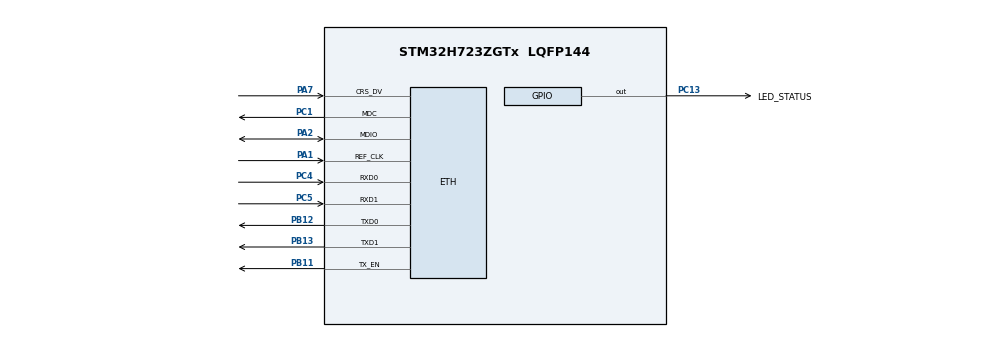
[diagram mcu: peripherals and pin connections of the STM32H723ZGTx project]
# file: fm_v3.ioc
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CORTEX_M7.CPU_DCache=Enabled
CORTEX_M7.CPU_ICache=Enabled
ETH.MediaInterface=HAL_ETH_RMII_MODE
FREERTOS.configCHECK_FOR_STACK_OVERFLOW=2
FREERTOS.configTOTAL_HEAP_SIZE=32768
FREERTOS.configUSE_MALLOC_FAILED_HOOK=1
FREERTOS.configUSE_NEWLIB_REENTRANT=1
LWIP.ETHARP_STATS=1
LWIP.GATEWAY_ADDRESS=192.168.001.001
LWIP.IP_ADDRESS=192.168.001.111
LWIP.IP_STATS=1
LWIP.LWIP_DHCP=0
LWIP.LWIP_NETIF_API=1
LWIP.LWIP_SO_SNDTIMEO=1
LWIP.LWIP_STATS=1
LWIP.LWIP_UDP=0
LWIP.MEMP_NUM_NETCONN=8
LWIP.MEMP_NUM_SYS_TIMEOUT=8
LWIP.MEMP_NUM_TCP_SEG=32
LWIP.MEM_SIZE=8192
LWIP.NETMASK_ADDRESS=255.255.255.000
LWIP.PBUF_POOL_BUFSIZE=1536
LWIP.TCP_MSS=1460
LWIP.TCP_SND_BUF=5840
LWIP.Version=v2.1.2_Cube
Mcu.Family=STM32H7
Mcu.Name=STM32H723ZGTx
Mcu.Package=LQFP144
NVIC.ETH_IRQn=true\:10\:0\:true\:false\:true\:true\:true\:true\:true
NVIC.PriorityGroup=NVIC_PRIORITYGROUP_4
NVIC.TIM8_TRG_COM_TIM14_IRQn=true\:5\:0\:true\:false\:true\:false\:false\:true\:true
NVIC.TimeBase=TIM8_TRG_COM_TIM14_IRQn
NVIC.TimeBaseIP=TIM14
PA1.Mode=RMII
PA1.Signal=ETH_REF_CLK
PA2.Mode=RMII
PA2.Signal=ETH_MDIO
PA7.Mode=RMII
PA7.Signal=ETH_CRS_DV
PB11.Mode=RMII
PB11.Signal=ETH_TX_EN
PB12.Mode=RMII
PB12.Signal=ETH_TXD0
PB13.Mode=RMII
PB13.Signal=ETH_TXD1
PC1.Mode=RMII
PC1.Signal=ETH_MDC
PC13.GPIO_Label=LED_STATUS
PC13.Signal=GPIO_Output
PC4.Mode=RMII
PC4.Signal=ETH_RXD0
PC5.Mode=RMII
PC5.Signal=ETH_RXD1
PH0-OSC_IN.Mode=HSE-External-Oscillator
PH0-OSC_IN.Signal=RCC_OSC_IN
PH1-OSC_OUT.Mode=HSE-External-Oscillator
PH1-OSC_OUT.Signal=RCC_OSC_OUT
ProjectManager.HeapSize=0x200
ProjectManager.StackSize=0x400
ProjectManager.TargetToolchain=STM32CubeIDE
RCC.ADCFreq_Value=16125000
RCC.APB1Freq_Value=137500000
RCC.APB2Freq_Value=137500000
RCC.APB3Freq_Value=137500000
RCC.APB4Freq_Value=137500000
RCC.CortexFreq_Value=550000000
RCC.D1PPRE=RCC_APB3_DIV2
RCC.D2PPRE1=RCC_APB1_DIV2
RCC.D2PPRE2=RCC_APB2_DIV2
RCC.D3PPRE=RCC_APB4_DIV2
RCC.DIVM1=4
RCC.DIVN1=275
RCC.DIVP1=1
RCC.HCLKFreq_Value=275000000
RCC.HPRE=RCC_HCLK_DIV2
RCC.HSE_VALUE=8000000
RCC.PLLSourceVirtual=RCC_PLLSOURCE_HSE
RCC.SYSCLKFreq_VALUE=550000000
RCC.SYSCLKSource=RCC_SYSCLKSOURCE_PLLCLK
RCC.USBFreq_Value=275000000
VP_FREERTOS_VS_CMSIS_V2.Mode=CMSIS_V2
VP_LWIP_VS_Enabled.Mode=Enabled
VP_SYS_VS_tim14.Mode=TIM14
board=custom

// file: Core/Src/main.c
/* USER CODE BEGIN Header */
/**
  ******************************************************************************
  * @file           : main.c
  * @brief          : Main program body
  ******************************************************************************
  * @attention
  *
  * Copyright (c) 2026 STMicroelectronics.
  * All rights reserved.
  *
  * This software is licensed under terms that can be found in the LICENSE file
  * in the root directory of this software component.
  * If no LICENSE file comes with this software, it is provided AS-IS.
  *
  ******************************************************************************
  */
/* USER CODE END Header */
#include "main.h"
#include "cmsis_os.h"

/* USER CODE BEGIN Includes */
#include "gpio_config.h"
#include "mpu_config.h"
#include "phy_interrupt.h"
#include "system_clock.h"
#include "encoder.h"

/* USER CODE END Includes */

void MX_FREERTOS_Init(void);

int main(void)
{
  /* USER CODE BEGIN 1 */

  MPU_Config();

  /* USER CODE END 1 */

  /* Enable I-Cache---------------------------------------------------------*/
  SCB_EnableICache();

  /* Enable D-Cache---------------------------------------------------------*/
  SCB_EnableDCache();

  /* MCU Configuration--------------------------------------------------------*/

  /* Reset of all peripherals, Initializes the Flash interface and the Systick. */
  HAL_Init();

  /* Configure the system clock */
  SystemClock_Config();

  /* Initialize all configured peripherals */
  MX_GPIO_Init();
  /* USER CODE BEGIN 2 */

  encoder_init();
  PHY_INT_GPIO_Init();

  /* USER CODE END 2 */

  /* Init scheduler */
  osKernelInitialize();

/* USER CODE BEGIN RTOS_THREADS */
  MX_FREERTOS_Init();
  /* USER CODE END RTOS_THREADS */

  /* Start scheduler */
  osKernelStart();

  /* We should never get here as control is now taken by the scheduler */
  /* Infinite loop */
  while (1)
  {

  }
}

void HAL_TIM_PeriodElapsedCallback(TIM_HandleTypeDef *htim)
{
  if (htim->Instance == TIM14) {
    HAL_IncTick();
  }
}

void Error_Handler(void)
{
  __disable_irq();
  while (1)
  {
  }
}

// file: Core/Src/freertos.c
/* USER CODE BEGIN Header */
/**
  ******************************************************************************
  * File Name          : freertos.c
  * Description        : Code for freertos applications
  ******************************************************************************
  * @attention
  *
  * Copyright (c) 2026 STMicroelectronics.
  * All rights reserved.
  *
  * This software is licensed under terms that can be found in the LICENSE file
  * in the root directory of this software component.
  * If no LICENSE file comes with this software, it is provided AS-IS.
  *
  ******************************************************************************
  */
/* USER CODE END Header */

#include "FreeRTOS.h"
#include "task.h"
#include "main.h"
#include "cmsis_os.h"
#include "startup_task.h"
#include "diagnostic_task.h"
#include "task_context.h"
#include "task_names.h"
#include "telemetry_task.h"
#include "command_task.h"
#include "command/command_queue.h"
#include "motion_task.h"
#include "motion/plan_buffer.h"
#include "step_generator_task.h"

/* USER CODE BEGIN Variables */

static osThreadId_t startup_task_handle;
static const osThreadAttr_t startup_task_attr = {
  .name = STARTUP_TASK_NAME,
  .stack_size = STARTUP_TASK_STACK_SIZE_BYTES,
  .priority = (osPriority_t) osPriorityNormal,
};

static osThreadId_t diagnostic_task_handle;
static const osThreadAttr_t diagnostic_task_attr = {
  .name = DIAGNOSTIC_TASK_NAME,
  .stack_size = DIAGNOSTIC_TASK_STACK_SIZE_BYTES,
  .priority = (osPriority_t) osPriorityNormal,
};

static osThreadId_t telemetry_task_handle;
static const osThreadAttr_t telemetry_task_attr = {
  .name = TELEMETRY_TASK_NAME,
  .stack_size = TELEMETRY_TASK_STACK_SIZE_BYTES,
  .priority = (osPriority_t) osPriorityNormal,
};

static osThreadId_t command_task_handle;
static const osThreadAttr_t command_task_attr = {
  .name = COMMAND_TASK_NAME,
  .stack_size = COMMAND_TASK_STACK_SIZE_BYTES,
  .priority = (osPriority_t) osPriorityNormal,
};

static osThreadId_t motion_task_handle;
static MotionTaskContext_t motion_task_context;
static StepGeneratorTaskConfig_t step_generator_task_config;
static const osThreadAttr_t motion_task_attr = {
  .name = MOTION_TASK_NAME,
  .stack_size = MOTION_TASK_STACK_SIZE_BYTES,
  .priority = (osPriority_t) osPriorityNormal,
};

/* Above MotionTask and the network tasks so step events are produced before the timer ISR runs out. */
static osThreadId_t step_generator_task_handle;
static const osThreadAttr_t step_generator_task_attr = {
  .name = STEP_GENERATOR_TASK_NAME,
  .stack_size = STEP_GENERATOR_TASK_STACK_SIZE_BYTES,
  .priority = (osPriority_t) osPriorityAboveNormal,
};

static osEventFlagsId_t lwip_ready_flags;
static NetworkTaskContext diagnostic_task_context;
static NetworkTaskContext telemetry_task_context;
static NetworkTaskContext command_task_context;

/* USER CODE END Variables */

/* USER CODE BEGIN FunctionPrototypes */

void MX_FREERTOS_Init(void);

/* USER CODE END FunctionPrototypes */

/* USER CODE BEGIN Application */

void MX_FREERTOS_Init(void)
{
  if (command_queue_init() != osOK)
  {
    Error_Handler();
  }

  if (plan_buffer_init() != PLAN_BUFFER_STATUS_OK)
  {
    Error_Handler();
  }

  motion_task_context.planner_config.max_step_event_rate_hz = MOTION_TASK_MAX_STEP_RATE_HZ;
  motion_task_handle = osThreadNew(MotionTask, &motion_task_context, &motion_task_attr);
  if (motion_task_handle == NULL)
  {
    Error_Handler();
  }

  motion_task_get_step_timing(
      MOTION_AXIS_X, &step_generator_task_config.step_pulse_width_ns, &step_generator_task_config.step_low_time_ns);
  /* 0 turns the braking ramp off: the stream stops at once on a limit switch. For the ramp, pass
   * motion_task_get_limit_deceleration(MOTION_AXIS_X) here. */
  step_generator_task_config.limit_deceleration_steps_per_s2 = 0U;
  step_generator_task_handle = osThreadNew(StepGeneratorTask, &step_generator_task_config, &step_generator_task_attr);
  if (step_generator_task_handle == NULL)
  {
    Error_Handler();
  }

  lwip_ready_flags = osEventFlagsNew(NULL);
  if (lwip_ready_flags == NULL)
  {
    Error_Handler();
  }

  startup_task_handle = osThreadNew(StartStartupTask, &lwip_ready_flags, &startup_task_attr);
  if (startup_task_handle == NULL)
  {
    Error_Handler();
  }

  diagnostic_task_context.lwip_flags = lwip_ready_flags;
  diagnostic_task_handle = osThreadNew(DiagnosticTask, &diagnostic_task_context, &diagnostic_task_attr);
  if (diagnostic_task_handle == NULL)
  {
    Error_Handler();
  }

  command_task_context.lwip_flags = lwip_ready_flags;
  command_task_handle = osThreadNew(CommandTask, &command_task_context, &command_task_attr);
  if (command_task_handle == NULL)
  {
    Error_Handler();
  }

  telemetry_task_context.lwip_flags = lwip_ready_flags;
  telemetry_task_handle = osThreadNew(TelemetryTask, &telemetry_task_context, &telemetry_task_attr);
  if (telemetry_task_handle == NULL)
  {
    Error_Handler();
  }
}

/* USER CODE END Application */
